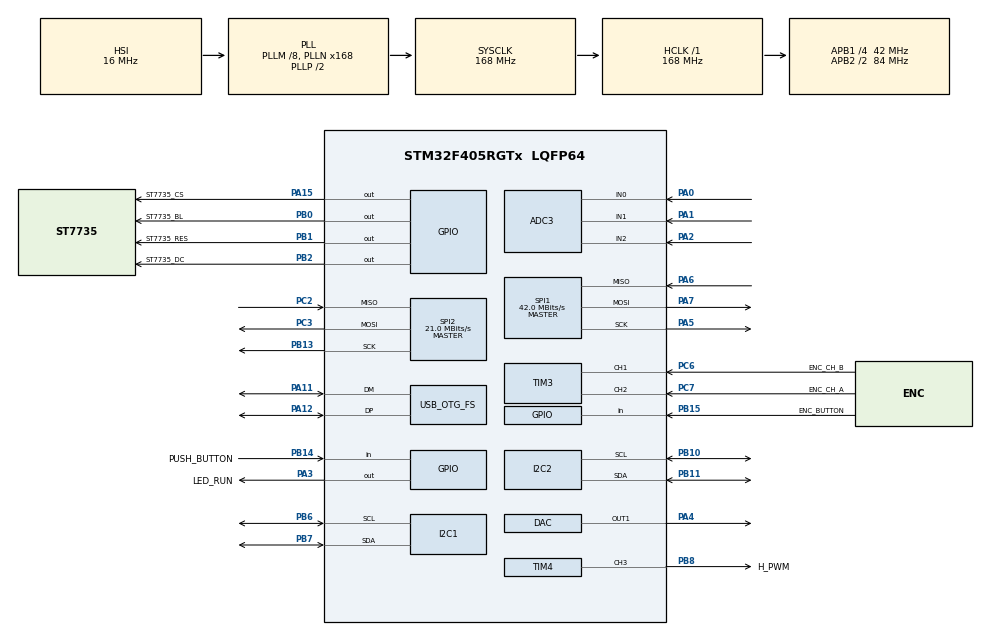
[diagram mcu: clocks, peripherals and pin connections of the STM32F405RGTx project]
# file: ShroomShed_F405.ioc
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ADC3.Channel-0\#ChannelRegularConversion=ADC_CHANNEL_0
ADC3.NbrOfConversionFlag=1
ADC3.Rank-0\#ChannelRegularConversion=1
ADC3.SamplingTime-0\#ChannelRegularConversion=ADC_SAMPLETIME_3CYCLES
Mcu.Family=STM32F4
Mcu.Name=STM32F405RGTx
Mcu.Package=LQFP64
NVIC.OTG_FS_IRQn=true\:0\:0\:false\:false\:true\:false\:true\:true
NVIC.PriorityGroup=NVIC_PRIORITYGROUP_4
PA0-WKUP.Signal=ADCx_IN0
PA1.Signal=ADCx_IN1
PA11.Mode=Device_Only
PA11.Signal=USB_OTG_FS_DM
PA12.Mode=Device_Only
PA12.Signal=USB_OTG_FS_DP
PA13.Mode=Serial_Wire
PA13.Signal=SYS_JTMS-SWDIO
PA14.Mode=Serial_Wire
PA14.Signal=SYS_JTCK-SWCLK
PA15.GPIO_Label=ST7735_CS
PA15.Signal=GPIO_Output
PA2.Signal=ADCx_IN2
PA3.GPIO_Label=LED_RUN
PA3.Signal=GPIO_Output
PA4.Signal=COMP_DAC1_group
PA5.Mode=Full_Duplex_Master
PA5.Signal=SPI1_SCK
PA6.Mode=Full_Duplex_Master
PA6.Signal=SPI1_MISO
PA7.Mode=Full_Duplex_Master
PA7.Signal=SPI1_MOSI
PB0.GPIO_Label=ST7735_BL
PB0.Signal=GPIO_Output
PB1.GPIO_Label=ST7735_RES
PB1.Signal=GPIO_Output
PB10.Mode=I2C
PB10.Signal=I2C2_SCL
PB11.Mode=I2C
PB11.Signal=I2C2_SDA
PB13.Mode=Full_Duplex_Master
PB13.Signal=SPI2_SCK
PB14.GPIO_Label=PUSH_BUTTON
PB14.GPIO_PuPd=GPIO_PULLUP
PB14.Signal=GPIO_Input
PB15.GPIO_Label=ENC_BUTTON
PB15.GPIO_PuPd=GPIO_PULLUP
PB15.Signal=GPIO_Input
PB2.GPIO_Label=ST7735_DC
PB2.Signal=GPIO_Output
PB6.Mode=I2C
PB6.Signal=I2C1_SCL
PB7.Mode=I2C
PB7.Signal=I2C1_SDA
PB8.GPIO_Label=H_PWM
PB8.Signal=S_TIM4_CH3
PC2.Mode=Full_Duplex_Master
PC2.Signal=SPI2_MISO
PC3.Mode=Full_Duplex_Master
PC3.Signal=SPI2_MOSI
PC6.GPIO_Label=ENC_CH_B
PC6.Signal=S_TIM3_CH1
PC7.GPIO_Label=ENC_CH_A
PC7.Signal=S_TIM3_CH2
ProjectManager.HeapSize=0x200
ProjectManager.StackSize=0x400
ProjectManager.TargetToolchain=CMake
RCC.48MHZClocksFreq_Value=48000000
RCC.AHBFreq_Value=168000000
RCC.APB1CLKDivider=RCC_HCLK_DIV4
RCC.APB1Freq_Value=42000000
RCC.APB1TimFreq_Value=84000000
RCC.APB2CLKDivider=RCC_HCLK_DIV2
RCC.APB2Freq_Value=84000000
RCC.APB2TimFreq_Value=168000000
RCC.CortexFreq_Value=168000000
RCC.HCLKFreq_Value=168000000
RCC.HSE_VALUE=25000000
RCC.HSI_VALUE=16000000
RCC.LSE_VALUE=32768
RCC.PLLM=8
RCC.PLLN=168
RCC.PLLQ=7
RCC.PLLSource=RCC_PLLSOURCE_HSI
RCC.PLLSourceVirtualString=RCC_PLLSOURCE_HSI
RCC.SYSCLKFreq_VALUE=168000000
RCC.SYSCLKSource=RCC_SYSCLKSOURCE_PLLCLK
RCC.VCOOutputFreq_Value=336000000
SH.ADCx_IN0.0=ADC3_IN0,IN0
SH.ADCx_IN1.0=ADC3_IN1,IN1
SH.ADCx_IN2.0=ADC3_IN2,IN2
SH.COMP_DAC1_group.0=DAC_OUT1,DAC_OUT1
SH.S_TIM3_CH1.0=TIM3_CH1,Encoder_Interface
SH.S_TIM3_CH2.0=TIM3_CH2,Encoder_Interface
SH.S_TIM4_CH3.0=TIM4_CH3,PWM Generation3 CH3
SPI1.BaudRatePrescaler=SPI_BAUDRATEPRESCALER_2
SPI1.CalculateBaudRate=42.0 MBits/s
SPI1.DataSize=SPI_DATASIZE_8BIT
SPI1.Direction=SPI_DIRECTION_2LINES
SPI1.Mode=SPI_MODE_MASTER
SPI1.VirtualType=VM_MASTER
SPI2.CalculateBaudRate=21.0 MBits/s
SPI2.Direction=SPI_DIRECTION_2LINES
SPI2.Mode=SPI_MODE_MASTER
SPI2.VirtualType=VM_MASTER
STMicroelectronics.X-CUBE-DISPLAY.3.0.0_IsPackSelfContextualization=true
TIM4.Channel-PWM\ Generation3\ CH3=TIM_CHANNEL_3
USB_DEVICE.CLASS_NAME_FS=CDC
USB_DEVICE.VirtualMode-CDC_FS=Cdc
USB_DEVICE.VirtualModeFS=Cdc_FS
USB_OTG_FS.VirtualMode=Device_Only
VP_TIM4_VS_ClockSourceINT.Mode=Internal
VP_USB_DEVICE_VS_USB_DEVICE_CDC_FS.Mode=CDC_FS
board=custom

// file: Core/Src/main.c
/* USER CODE BEGIN Header */
/**
  ******************************************************************************
  * @file           : main.c
  * @brief          : Main program body
  ******************************************************************************
  * @attention
  *
  * Copyright (c) 2025 STMicroelectronics.
  * All rights reserved.
  *
  * This software is licensed under terms that can be found in the LICENSE file
  * in the root directory of this software component.
  * If no LICENSE file comes with this software, it is provided AS-IS.
  *
  ******************************************************************************
  */
/* USER CODE END Header */
#include "main.h"
#include "usb_device.h"

/* USER CODE BEGIN Includes */
#include "display_manager.h"
#include "stm32f4xx_hal.h"
#include "shroom_shed.h"
#include "sensors.h"
#include "usbd_cdc_if.h"

/* USER CODE END Includes */

/* USER CODE BEGIN PD */
// system polling
#define SYSTICK_HZ 1000
#define BUTTON_PROCESS_HZ 100
#define SERIAL_PROCESS_HZ 0.5
#define DISPLAY_PROCESS_HZ 5
#define SENSOR_PROCESS_HZ 1
#define CONTROL_PROCESS_HZ 5

/* USER CODE END PD */

ADC_HandleTypeDef hadc3;

DAC_HandleTypeDef hdac;

I2C_HandleTypeDef hi2c1;
I2C_HandleTypeDef hi2c2;

SPI_HandleTypeDef hspi1;
SPI_HandleTypeDef hspi2;

TIM_HandleTypeDef htim3;
TIM_HandleTypeDef htim4;

/* USER CODE BEGIN PV */

uint32_t currentSystick;
uint32_t lastSerialProcess;
uint32_t lastButtonProcess;
uint32_t lastDisplayProcess;
uint32_t lastControlProcess;
uint32_t lastSensorProcess;

char usb_buffer[200];

/* USER CODE END PV */

void SystemClock_Config(void);
static void MX_GPIO_Init(void);
static void MX_I2C1_Init(void);
static void MX_I2C2_Init(void);
static void MX_ADC3_Init(void);
static void MX_DAC_Init(void);
static void MX_TIM3_Init(void);
static void MX_TIM4_Init(void);
static void MX_SPI2_Init(void);
static void MX_SPI1_Init(void);
/* USER CODE BEGIN PFP */
static void sensorProcess(void);
static void humidityProcess(void);
static void fanProcess(void);
static void IOProcess(void);
static void serialProcess(void);

/* USER CODE END PFP */

/* USER CODE BEGIN 0 */
// Define the global shroomShed instance
struct shroomShed_t shroomShed = {0};

/* USER CODE END 0 */

int main(void)
{

  /* MCU Configuration--------------------------------------------------------*/

  /* Reset of all peripherals, Initializes the Flash interface and the Systick. */
  HAL_Init();

  /* Configure the system clock */
  SystemClock_Config();

  /* Initialize all configured peripherals */
  MX_GPIO_Init();
  MX_I2C1_Init();
  MX_I2C2_Init();
  MX_ADC3_Init();
  MX_DAC_Init();
  MX_TIM3_Init();
  MX_TIM4_Init();
  MX_SPI2_Init();
  MX_SPI1_Init();
  MX_USB_DEVICE_Init();
  /* USER CODE BEGIN 2 */
  init_sensors();
  initDisplay();

  /* USER CODE END 2 */

  /* Infinite loop */
  /* USER CODE BEGIN WHILE */
  while (1)
  {
    currentSystick = HAL_GetTick();

    if (lastButtonProcess + (SYSTICK_HZ/BUTTON_PROCESS_HZ) < currentSystick) {
      lastButtonProcess = currentSystick;
      IOProcess();
    }

    if (lastSensorProcess + (SYSTICK_HZ/SENSOR_PROCESS_HZ) < currentSystick) {
      lastSensorProcess = currentSystick;
      sensorProcess();
    }

    if (lastControlProcess+ (SYSTICK_HZ/CONTROL_PROCESS_HZ) < currentSystick) {
      lastControlProcess = currentSystick;
      humidityProcess();
      fanProcess();
    }

    if (lastDisplayProcess + (SYSTICK_HZ/DISPLAY_PROCESS_HZ) < currentSystick) {
      lastDisplayProcess = currentSystick;
      displayProcess();
    }

    if (lastSerialProcess + (SYSTICK_HZ/SERIAL_PROCESS_HZ) < currentSystick) {
      lastSerialProcess = currentSystick;
      serialProcess();
    }
    /* USER CODE END WHILE */

  }
}

void SystemClock_Config(void)
{
  RCC_OscInitTypeDef RCC_OscInitStruct = {0};
  RCC_ClkInitTypeDef RCC_ClkInitStruct = {0};

  /** Configure the main internal regulator output voltage
  */
  __HAL_RCC_PWR_CLK_ENABLE();
  __HAL_PWR_VOLTAGESCALING_CONFIG(PWR_REGULATOR_VOLTAGE_SCALE1);

  /** Initializes the RCC Oscillators according to the specified parameters
  * in the RCC_OscInitTypeDef structure.
  */
  RCC_OscInitStruct.OscillatorType = RCC_OSCILLATORTYPE_HSI;
  RCC_OscInitStruct.HSIState = RCC_HSI_ON;
  RCC_OscInitStruct.HSICalibrationValue = RCC_HSICALIBRATION_DEFAULT;
  RCC_OscInitStruct.PLL.PLLState = RCC_PLL_ON;
  RCC_OscInitStruct.PLL.PLLSource = RCC_PLLSOURCE_HSI;
  RCC_OscInitStruct.PLL.PLLM = 8;
  RCC_OscInitStruct.PLL.PLLN = 168;
  RCC_OscInitStruct.PLL.PLLP = RCC_PLLP_DIV2;
  RCC_OscInitStruct.PLL.PLLQ = 7;
  if (HAL_RCC_OscConfig(&RCC_OscInitStruct) != HAL_OK)
  {
    Error_Handler();
  }

  /** Initializes the CPU, AHB and APB buses clocks
  */
  RCC_ClkInitStruct.ClockType = RCC_CLOCKTYPE_HCLK|RCC_CLOCKTYPE_SYSCLK
                              |RCC_CLOCKTYPE_PCLK1|RCC_CLOCKTYPE_PCLK2;
  RCC_ClkInitStruct.SYSCLKSource = RCC_SYSCLKSOURCE_PLLCLK;
  RCC_ClkInitStruct.AHBCLKDivider = RCC_SYSCLK_DIV1;
  RCC_ClkInitStruct.APB1CLKDivider = RCC_HCLK_DIV4;
  RCC_ClkInitStruct.APB2CLKDivider = RCC_HCLK_DIV2;

  if (HAL_RCC_ClockConfig(&RCC_ClkInitStruct, FLASH_LATENCY_5) != HAL_OK)
  {
    Error_Handler();
  }
}

static void MX_ADC3_Init(void)
{

  ADC_ChannelConfTypeDef sConfig = {0};

  /** Configure the global features of the ADC (Clock, Resolution, Data Alignment and number of conversion)
  */
  hadc3.Instance = ADC3;
  hadc3.Init.ClockPrescaler = ADC_CLOCK_SYNC_PCLK_DIV4;
  hadc3.Init.Resolution = ADC_RESOLUTION_12B;
  hadc3.Init.ScanConvMode = DISABLE;
  hadc3.Init.ContinuousConvMode = DISABLE;
  hadc3.Init.DiscontinuousConvMode = DISABLE;
  hadc3.Init.ExternalTrigConvEdge = ADC_EXTERNALTRIGCONVEDGE_NONE;
  hadc3.Init.ExternalTrigConv = ADC_SOFTWARE_START;
  hadc3.Init.DataAlign = ADC_DATAALIGN_RIGHT;
  hadc3.Init.NbrOfConversion = 1;
  hadc3.Init.DMAContinuousRequests = DISABLE;
  hadc3.Init.EOCSelection = ADC_EOC_SINGLE_CONV;
  if (HAL_ADC_Init(&hadc3) != HAL_OK)
  {
    Error_Handler();
  }

  /** Configure for the selected ADC regular channel its corresponding rank in the sequencer and its sample time.
  */
  sConfig.Channel = ADC_CHANNEL_0;
  sConfig.Rank = 1;
  sConfig.SamplingTime = ADC_SAMPLETIME_3CYCLES;
  if (HAL_ADC_ConfigChannel(&hadc3, &sConfig) != HAL_OK)
  {
    Error_Handler();
  }

}

static void MX_DAC_Init(void)
{

  DAC_ChannelConfTypeDef sConfig = {0};

  /** DAC Initialization
  */
  hdac.Instance = DAC;
  if (HAL_DAC_Init(&hdac) != HAL_OK)
  {
    Error_Handler();
  }

  /** DAC channel OUT1 config
  */
  sConfig.DAC_Trigger = DAC_TRIGGER_NONE;
  sConfig.DAC_OutputBuffer = DAC_OUTPUTBUFFER_ENABLE;
  if (HAL_DAC_ConfigChannel(&hdac, &sConfig, DAC_CHANNEL_1) != HAL_OK)
  {
    Error_Handler();
  }

}

static void MX_I2C1_Init(void)
{

  hi2c1.Instance = I2C1;
  hi2c1.Init.ClockSpeed = 100000;
  hi2c1.Init.DutyCycle = I2C_DUTYCYCLE_2;
  hi2c1.Init.OwnAddress1 = 0;
  hi2c1.Init.AddressingMode = I2C_ADDRESSINGMODE_7BIT;
  hi2c1.Init.DualAddressMode = I2C_DUALADDRESS_DISABLE;
  hi2c1.Init.OwnAddress2 = 0;
  hi2c1.Init.GeneralCallMode = I2C_GENERALCALL_DISABLE;
  hi2c1.Init.NoStretchMode = I2C_NOSTRETCH_DISABLE;
  if (HAL_I2C_Init(&hi2c1) != HAL_OK)
  {
    Error_Handler();
  }

}

static void MX_I2C2_Init(void)
{

  hi2c2.Instance = I2C2;
  hi2c2.Init.ClockSpeed = 100000;
  hi2c2.Init.DutyCycle = I2C_DUTYCYCLE_2;
  hi2c2.Init.OwnAddress1 = 0;
  hi2c2.Init.AddressingMode = I2C_ADDRESSINGMODE_7BIT;
  hi2c2.Init.DualAddressMode = I2C_DUALADDRESS_DISABLE;
  hi2c2.Init.OwnAddress2 = 0;
  hi2c2.Init.GeneralCallMode = I2C_GENERALCALL_DISABLE;
  hi2c2.Init.NoStretchMode = I2C_NOSTRETCH_DISABLE;
  if (HAL_I2C_Init(&hi2c2) != HAL_OK)
  {
    Error_Handler();
  }

}

static void MX_SPI1_Init(void)
{

  /* SPI1 parameter configuration*/
  hspi1.Instance = SPI1;
  hspi1.Init.Mode = SPI_MODE_MASTER;
  hspi1.Init.Direction = SPI_DIRECTION_2LINES;
  hspi1.Init.DataSize = SPI_DATASIZE_8BIT;
  hspi1.Init.CLKPolarity = SPI_POLARITY_LOW;
  hspi1.Init.CLKPhase = SPI_PHASE_1EDGE;
  hspi1.Init.NSS = SPI_NSS_SOFT;
  hspi1.Init.BaudRatePrescaler = SPI_BAUDRATEPRESCALER_2;
  hspi1.Init.FirstBit = SPI_FIRSTBIT_MSB;
  hspi1.Init.TIMode = SPI_TIMODE_DISABLE;
  hspi1.Init.CRCCalculation = SPI_CRCCALCULATION_DISABLE;
  hspi1.Init.CRCPolynomial = 10;
  if (HAL_SPI_Init(&hspi1) != HAL_OK)
  {
    Error_Handler();
  }

}

static void MX_SPI2_Init(void)
{

  /* SPI2 parameter configuration*/
  hspi2.Instance = SPI2;
  hspi2.Init.Mode = SPI_MODE_MASTER;
  hspi2.Init.Direction = SPI_DIRECTION_2LINES;
  hspi2.Init.DataSize = SPI_DATASIZE_8BIT;
  hspi2.Init.CLKPolarity = SPI_POLARITY_LOW;
  hspi2.Init.CLKPhase = SPI_PHASE_1EDGE;
  hspi2.Init.NSS = SPI_NSS_SOFT;
  hspi2.Init.BaudRatePrescaler = SPI_BAUDRATEPRESCALER_2;
  hspi2.Init.FirstBit = SPI_FIRSTBIT_MSB;
  hspi2.Init.TIMode = SPI_TIMODE_DISABLE;
  hspi2.Init.CRCCalculation = SPI_CRCCALCULATION_DISABLE;
  hspi2.Init.CRCPolynomial = 10;
  if (HAL_SPI_Init(&hspi2) != HAL_OK)
  {
    Error_Handler();
  }

}

static void MX_TIM3_Init(void)
{

  TIM_Encoder_InitTypeDef sConfig = {0};
  TIM_MasterConfigTypeDef sMasterConfig = {0};

  htim3.Instance = TIM3;
  htim3.Init.Prescaler = 0;
  htim3.Init.CounterMode = TIM_COUNTERMODE_UP;
  htim3.Init.Period = 65535;
  htim3.Init.ClockDivision = TIM_CLOCKDIVISION_DIV1;
  htim3.Init.AutoReloadPreload = TIM_AUTORELOAD_PRELOAD_DISABLE;
  sConfig.EncoderMode = TIM_ENCODERMODE_TI1;
  sConfig.IC1Polarity = TIM_ICPOLARITY_RISING;
  sConfig.IC1Selection = TIM_ICSELECTION_DIRECTTI;
  sConfig.IC1Prescaler = TIM_ICPSC_DIV1;
  sConfig.IC1Filter = 0;
  sConfig.IC2Polarity = TIM_ICPOLARITY_RISING;
  sConfig.IC2Selection = TIM_ICSELECTION_DIRECTTI;
  sConfig.IC2Prescaler = TIM_ICPSC_DIV1;
  sConfig.IC2Filter = 0;
  if (HAL_TIM_Encoder_Init(&htim3, &sConfig) != HAL_OK)
  {
    Error_Handler();
  }
  sMasterConfig.MasterOutputTrigger = TIM_TRGO_RESET;
  sMasterConfig.MasterSlaveMode = TIM_MASTERSLAVEMODE_DISABLE;
  if (HAL_TIMEx_MasterConfigSynchronization(&htim3, &sMasterConfig) != HAL_OK)
  {
    Error_Handler();
  }

}

static void MX_TIM4_Init(void)
{

  TIM_ClockConfigTypeDef sClockSourceConfig = {0};
  TIM_MasterConfigTypeDef sMasterConfig = {0};
  TIM_OC_InitTypeDef sConfigOC = {0};

  htim4.Instance = TIM4;
  htim4.Init.Prescaler = 0;
  htim4.Init.CounterMode = TIM_COUNTERMODE_UP;
  htim4.Init.Period = 65535;
  htim4.Init.ClockDivision = TIM_CLOCKDIVISION_DIV1;
  htim4.Init.AutoReloadPreload = TIM_AUTORELOAD_PRELOAD_DISABLE;
  if (HAL_TIM_Base_Init(&htim4) != HAL_OK)
  {
    Error_Handler();
  }
  sClockSourceConfig.ClockSource = TIM_CLOCKSOURCE_INTERNAL;
  if (HAL_TIM_ConfigClockSource(&htim4, &sClockSourceConfig) != HAL_OK)
  {
    Error_Handler();
  }
  if (HAL_TIM_PWM_Init(&htim4) != HAL_OK)
  {
    Error_Handler();
  }
  sMasterConfig.MasterOutputTrigger = TIM_TRGO_RESET;
  sMasterConfig.MasterSlaveMode = TIM_MASTERSLAVEMODE_DISABLE;
  if (HAL_TIMEx_MasterConfigSynchronization(&htim4, &sMasterConfig) != HAL_OK)
  {
    Error_Handler();
  }
  sConfigOC.OCMode = TIM_OCMODE_PWM1;
  sConfigOC.Pulse = 0;
  sConfigOC.OCPolarity = TIM_OCPOLARITY_HIGH;
  sConfigOC.OCFastMode = TIM_OCFAST_DISABLE;
  if (HAL_TIM_PWM_ConfigChannel(&htim4, &sConfigOC, TIM_CHANNEL_3) != HAL_OK)
  {
    Error_Handler();
  }
  HAL_TIM_MspPostInit(&htim4);

}

static void MX_GPIO_Init(void)
{
  GPIO_InitTypeDef GPIO_InitStruct = {0};

  /* GPIO Ports Clock Enable */
  __HAL_RCC_GPIOC_CLK_ENABLE();
  __HAL_RCC_GPIOA_CLK_ENABLE();
  __HAL_RCC_GPIOB_CLK_ENABLE();

  /*Configure GPIO pin Output Level */
  HAL_GPIO_WritePin(GPIOA, LED_RUN_Pin|ST7735_CS_Pin, GPIO_PIN_RESET);

  /*Configure GPIO pin Output Level */
  HAL_GPIO_WritePin(GPIOB, ST7735_BL_Pin|ST7735_RES_Pin|ST7735_DC_Pin, GPIO_PIN_RESET);

  /*Configure GPIO pins : LED_RUN_Pin ST7735_CS_Pin */
  GPIO_InitStruct.Pin = LED_RUN_Pin|ST7735_CS_Pin;
  GPIO_InitStruct.Mode = GPIO_MODE_OUTPUT_PP;
  GPIO_InitStruct.Pull = GPIO_NOPULL;
  GPIO_InitStruct.Speed = GPIO_SPEED_FREQ_LOW;
  HAL_GPIO_Init(GPIOA, &GPIO_InitStruct);

  /*Configure GPIO pins : ST7735_BL_Pin ST7735_RES_Pin ST7735_DC_Pin */
  GPIO_InitStruct.Pin = ST7735_BL_Pin|ST7735_RES_Pin|ST7735_DC_Pin;
  GPIO_InitStruct.Mode = GPIO_MODE_OUTPUT_PP;
  GPIO_InitStruct.Pull = GPIO_NOPULL;
  GPIO_InitStruct.Speed = GPIO_SPEED_FREQ_LOW;
  HAL_GPIO_Init(GPIOB, &GPIO_InitStruct);

  /*Configure GPIO pins : PUSH_BUTTON_Pin ENC_BUTTON_Pin */
  GPIO_InitStruct.Pin = PUSH_BUTTON_Pin|ENC_BUTTON_Pin;
  GPIO_InitStruct.Mode = GPIO_MODE_INPUT;
  GPIO_InitStruct.Pull = GPIO_PULLUP;
  HAL_GPIO_Init(GPIOB, &GPIO_InitStruct);

}

/* USER CODE BEGIN 4 */

void IOProcess(void) {
  // Placeholder for IO processing code
}

void sensorProcess(void) {
  // Placeholder for sensor processing code
  read_sensors();
}

void humidityProcess(void) {
  // Placeholder for humidity processing code
}

void fanProcess(void) {
  // Placeholder for fan processing code
}

void serialProcess(void) {
  // Placeholder for serial processing code
}
/* USER CODE END 4 */

void Error_Handler(void)
{
  __disable_irq();
  while (1)
  {
  }
}
